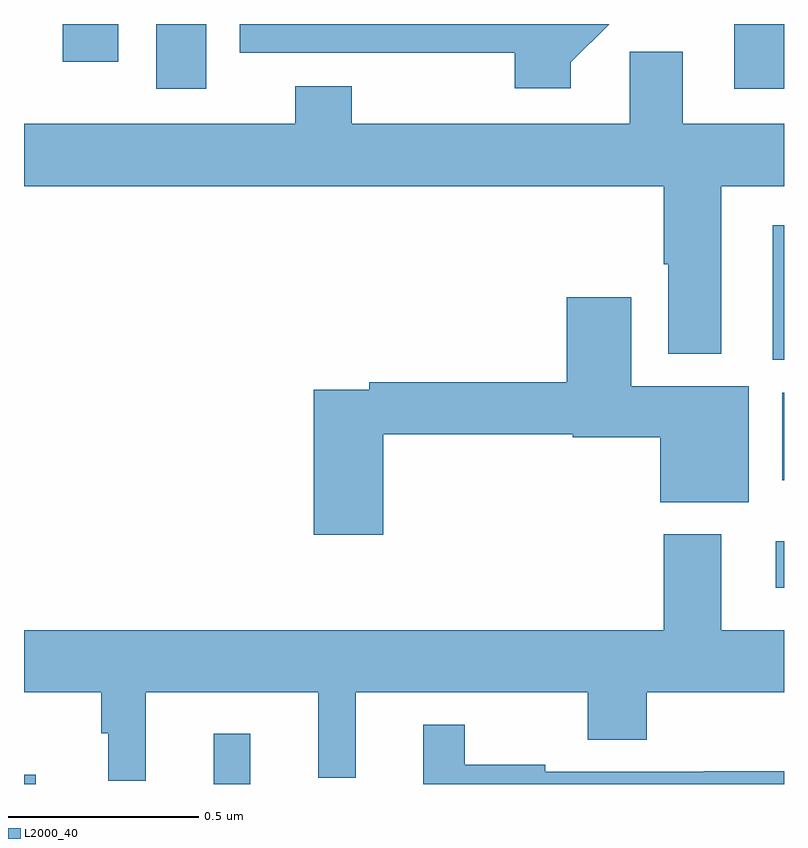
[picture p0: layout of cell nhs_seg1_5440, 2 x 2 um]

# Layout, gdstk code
import gdstk
lib = gdstk.Library(unit=1e-6, precision=1e-09)
def R(c, l, rs):  # rectangles x0, y0, x1, y1
    for r in rs: c.add(gdstk.rectangle(r[:2], r[2:], *l))
def P(c, l, *ps):  # polygons
    for p in ps: c.add(gdstk.Polygon(p, *l))
L2000_40 = (2000, 40)

nhs_seg1_5440 = lib.new_cell('nhs_seg1_5440')
R(nhs_seg1_5440, L2000_40, [(179,510.199,179.031,510.224), (179.499,510.199,179.595,510.331), (180.978,510.716,181,510.838), (180.995,510.998,181,511.228), (180.971,511.316,181,511.669), (179.348,512.028,179.479,512.199), (180.869,512.028,181,512.199), (179.102,512.1,179.248,512.199)])
P(nhs_seg1_5440, L2000_40, [(180.439,512.098),(180.54,512.199),(179.568,512.199),(179.568,512.124),(179.95,512.124),(179.95,512.123),(180.292,512.123),(180.292,512.03),(180.439,512.03)],
  [(180.835,511.772),(181,511.772),(181,511.936),(180.733,511.936),(180.733,512.126),(180.594,512.126),(180.594,511.936),(179.862,511.936),(179.862,512.035),(179.714,512.035),(179.714,511.936),(179,511.936),(179,511.772),(180.683,511.772),(180.683,511.567),(180.695,511.567),(180.695,511.331),(180.835,511.331)],
  [(179.945,511.12),(180.444,511.12),(180.444,511.112),(180.674,511.112),(180.674,510.941),(180.907,510.941),(180.907,511.246),(180.598,511.246),(180.598,511.48),(180.428,511.48),(180.428,511.256),(179.908,511.256),(179.908,511.236),(179.762,511.236),(179.762,510.855),(179.945,510.855)],
  [(179.321,510.44),(179.774,510.44),(179.774,510.215),(179.873,510.215),(179.873,510.44),(180.484,510.44),(180.484,510.316),(180.639,510.316),(180.639,510.44),(181,510.44),(181,510.604),(180.835,510.604),(180.835,510.856),(180.683,510.856),(180.683,510.604),(179,510.604),(179,510.44),(179.203,510.44),(179.203,510.332),(179.222,510.332),(179.222,510.207),(179.321,510.207)],
  [(181,510.233),(180.789,510.233),(180.789,510.231),(180.372,510.231),(180.372,510.25),(180.16,510.25),(180.16,510.355),(180.05,510.355),(180.05,510.199),(181,510.199)])

lib.write_gds('nhs_seg1_5440.gds')
